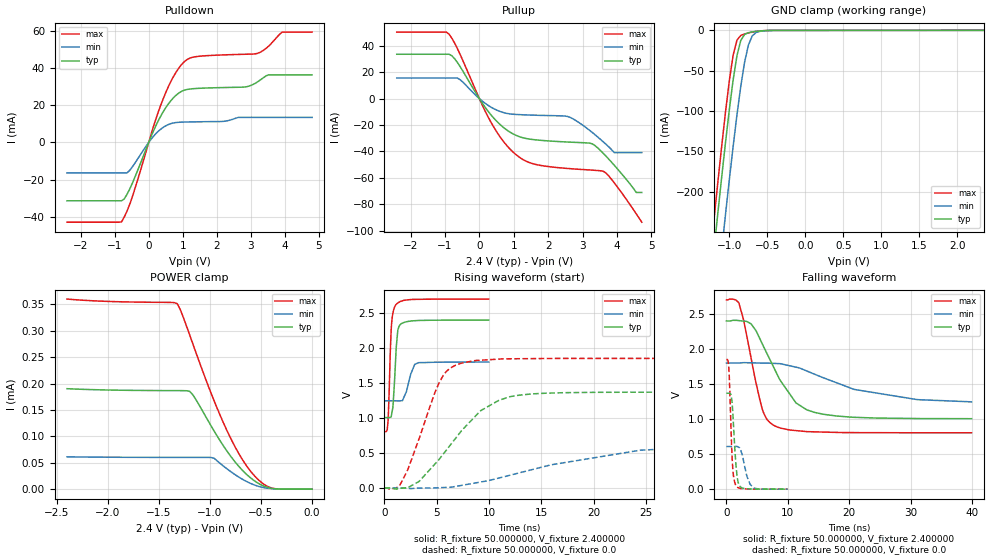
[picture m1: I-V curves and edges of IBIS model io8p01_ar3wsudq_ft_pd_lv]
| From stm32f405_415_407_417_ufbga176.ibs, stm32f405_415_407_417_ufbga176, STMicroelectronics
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|   Model io8p01_ar3wsudq_ft_pd_lv
[Model]  io8p01_ar3wsudq_ft_pd_lv
Model_type I/O
Polarity   Non-Inverting
Enable   Active-Low
Vinl =   0.720000V
Vinh =   1.680000V
Vmeas =  1.200000V
Cref =   50.000000pF
Rref =   100.000000M
Vref =   0.0V
C_comp   3.720900pF   3.684200pF   3.822900pF
[Temperature Range]   25.000000   0.125000k   -40.000000
[Pullup Reference]   2.400000V   1.800000V   2.700000V
[Pulldown Reference]   0.0V   0.0V   0.0V
[POWER Clamp Reference]   2.400000V   1.800000V   2.700000V
[GND Clamp Reference]   0.0V   0.0V   0.0V
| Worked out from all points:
|   slope of the pulldown table from 0 to 0.36 V, typ, clamps not added: 25 ohm
|   slope of the pullup table from 0 to 0.36 V, typ, clamps not added: 27.7 ohm
|   GND clamp passes 1 mA (typ) near -0.62 V on its own axis
|   rising waveform, R_fixture 50.000000, V_fixture 2.400000: 20-80 % time 332ps typ, 645ps min, 264ps max; typ from 1 V to 2.4 V
|   rising waveform, R_fixture 50.000000, V_fixture 0.0: 20-80 % time 4.73ns typ, 11.9ns min, 2.67ns max; typ from 0 V to 1.37 V
|   falling waveform, R_fixture 50.000000, V_fixture 2.400000: 20-80 % time 5.31ns typ, 12.5ns min, 2.7ns max; typ from 2.4 V to 1 V
|   falling waveform, R_fixture 50.000000, V_fixture 0.0: 20-80 % time 592ps typ, 1.02ns min, 460ps max; typ from 1.37 V to 0 V
[Pulldown]
|Voltage   I(typ)   I(min)   I(max)
-2.4V     -31.47mA   -16.45mA   -43.01mA
-800mV    -31.47mA   -16.45mA   -42.85mA
-480mV    -21.98mA   -13.17mA   -29.2mA
80mV      3.63mA     1.966mA    5.014mA
480mV     18.15mA    8.738mA    26.02mA
800mV     25.38mA    10.72mA    37.77mA
1.12V     28.53mA    11.02mA    44.6mA
2.8V      29.84mA    13.51mA    47.53mA
3.2V      32.66mA    13.51mA    48.04mA
3.52V     36.44mA    13.51mA    51.84mA
3.92V     36.44mA    13.51mA    59.49mA
4.8V      36.44mA    13.51mA    59.49mA
[Pullup]
|Voltage   I(typ)   I(min)   I(max)
-2.4V     33.58mA    15.57mA    50.36mA
-960mV    33.58mA    15.57mA    50.36mA
-560mV    24.28mA    14.31mA    33.53mA
320mV     -11.75mA   -6.207mA   -17.08mA
960mV     -26.47mA   -11.82mA   -40.02mA
1.52V     -30.88mA   -12.51mA   -49.05mA
2.56V     -32.88mA   -13.52mA   -52.9mA
3.28V     -34.25mA   -25.64mA   -54.18mA
3.6V      -41.44mA   -32.74mA   -55.03mA
3.92V     -50.46mA   -40.9mA    -63.79mA
4.56V     -71.1mA    -40.9mA    -87.27mA
4.72V     -71.1mA    -40.9mA    -93.6mA
[GND_clamp]
|Voltage   I(typ)   I(min)   I(max)
-2.4V     -1.429A    -1.514A    -1.399A
-1.25V    -315.9mA   -407.2mA   -278.2mA
-1.2V     -270.1mA   -361.3mA   -232.1mA
-1.15V    -225mA     -316mA     -186.8mA
-1.1V     -180.9mA   -271.3mA   -142.7mA
-1.05V    -138.2mA   -227.5mA   -100.5mA
-950mV    -61.14mA   -143.6mA   -30.44mA
-900mV    -31.24mA   -104.7mA   -12.15mA
-850mV    -12.5mA    -69.41mA   -6.236mA
-750mV    -2.91mA    -18.35mA   -3.195mA
-600mV    -761.5uA   -1.227mA   -751.9uA
2.35V     58.09uA    37.93uA    67.25uA
[POWER_clamp]
|Voltage   I(typ)   I(min)   I(max)
-2.4V     190.2uA    61.19uA    359.9uA
-1.32V    186.6uA    60.14uA    351.2uA
-1.29V    186.5uA    60.13uA    339.6uA
-1.2V     185.4uA    60.11uA    292.6uA
-1.17V    179.2uA    60.11uA    276.3uA
-960mV    110.2uA    58.62uA    167.5uA
-870mV    82.44uA    43.99uA    126.3uA
-750mV    50.58uA    26.92uA    78.64uA
-630mV    25.94uA    13.41uA    41.02uA
-510mV    9.22uA     4.527uA    14.97uA
-420mV    2.425uA    1.38uA     3.75uA
0V        0A         0A         0A
[Ramp]
| variable   typ   min   max
dV/dt_r  0.82164/4.72408n   0.36480/11.89880n   1.11048/2.66440n
dV/dt_f  0.83676/5.31772n   0.32370/13.40985n   1.13680/2.70151n
R_load = 50.000000
[Rising Waveform]
R_fixture= 50.000000
V_fixture= 2.400000
V_fixture_min= 1.800000
V_fixture_max= 2.700000
|time   V(typ)   V(min)   V(max)
0s        1.005V     1.245V     804.3mV
340.3ps   1.005V     1.245V     950.4mV
640.6ps   1.018V     1.246V     2.26V
820.8ps   1.187V     1.246V     2.509V
1.081ns   1.882V     1.245V     2.616V
1.281ns   2.258V     1.245V     2.644V
1.802ns   2.361V     1.277V     2.678V
2.883ns   2.389V     1.762V     2.694V
3.263ns   2.393V     1.79V      2.695V
9.97ns    2.399V     1.799V     2.699V
[Rising Waveform]
R_fixture= 50.000000
V_fixture= 0.0
V_fixture_min= 0.0
V_fixture_max= 0.0
|time   V(typ)   V(min)   V(max)
0s        177.8uV    72.94uV    448.7uV
1.522ns   -4.552mV   139.8uV    54.49mV
3.283ns   91.27mV    -1.145mV   692.9mV
5.205ns   404.8mV    3.699mV    1.495V
6.086ns   573mV      9.565mV    1.687V
7.367ns   817.9mV    37.03mV    1.783V
9.209ns   1.105V     85.57mV    1.825V
13.13ns   1.33V      225.2mV    1.847V
24.5ns    1.368V     540.2mV    1.851V
39.88ns   1.369V     608.4mV    1.851V
[Falling Waveform]
R_fixture= 50.000000
V_fixture= 2.400000
V_fixture_min= 1.800000
V_fixture_max= 2.700000
|time   V(typ)   V(min)   V(max)
0s        2.399V     1.799V     2.699V
2.002ns   2.405V     1.8V       2.661V
2.803ns   2.397V     1.804V     2.409V
4.004ns   2.359V     1.803V     1.873V
5.846ns   2.07V      1.798V     1.137V
7.768ns   1.724V     1.794V     907.1mV
11.29ns   1.234V     1.741V     835.8mV
14.33ns   1.095V     1.64V      817.7mV
20.82ns   1.025V     1.422V     806.7mV
39.88ns   1.005V     1.245V     804.3mV
[Falling Waveform]
R_fixture= 50.000000
V_fixture= 0.0
V_fixture_min= 0.0
V_fixture_max= 0.0
|time   V(typ)   V(min)   V(max)
0s        1.369V     608.4mV    1.851V
380.4ps   1.369V     608.4mV    1.735V
880.9ps   1.272V     608.2mV    540.9mV
1.121ns   954mV      607.9mV    208mV
1.481ns   427.8mV    608.6mV    63.82mV
1.762ns   164.3mV    608.4mV    30.4mV
2.122ns   49.87mV    592.3mV    14.87mV
3.323ns   5.318mV    185.8mV    2.808mV
4.505ns   1.963mV    13.35mV    1.375mV
9.97ns    177.8uV    72.94uV    448.7uV
